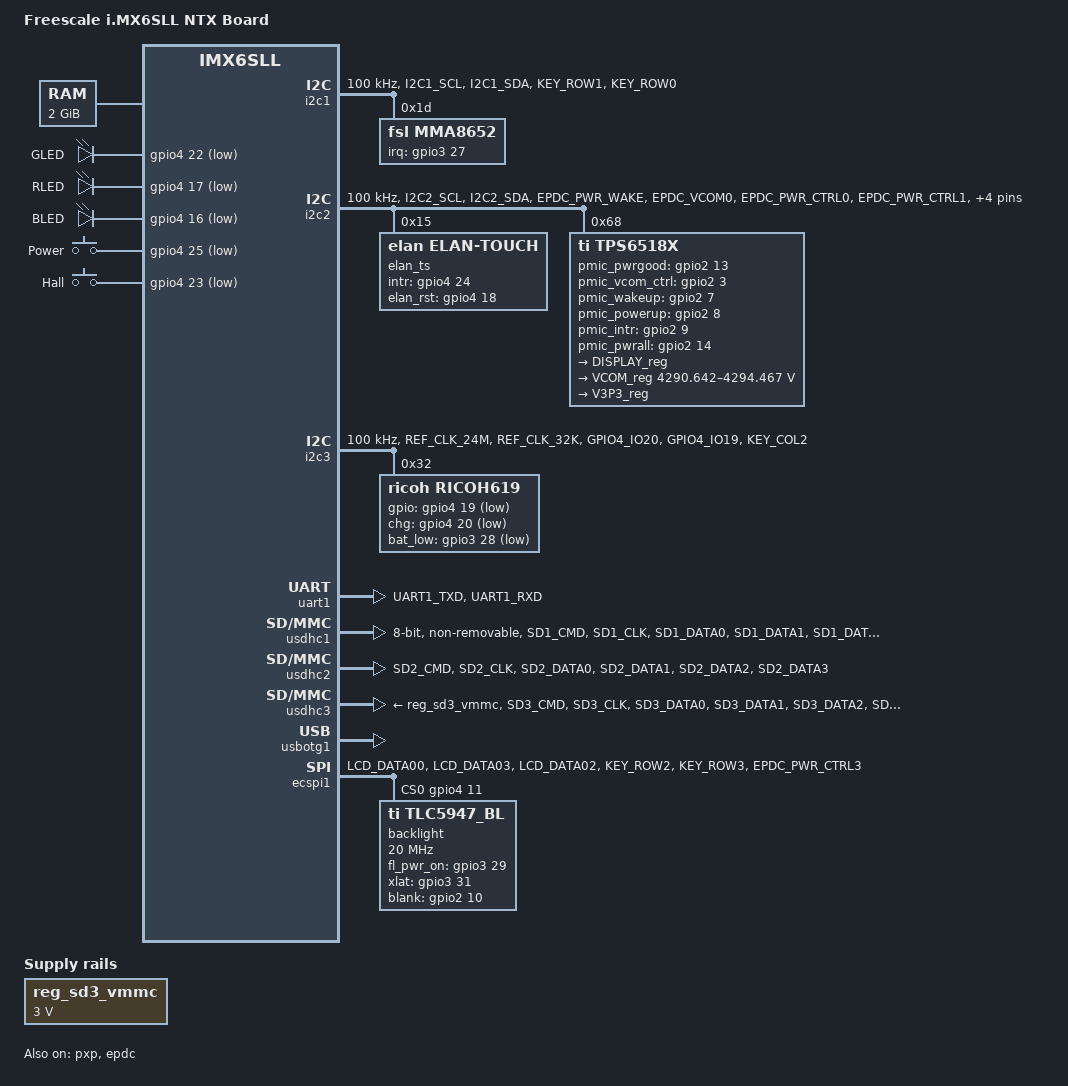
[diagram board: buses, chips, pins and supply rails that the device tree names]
/*
 * Copyright (C) 2016 Freescale Semiconductor, Inc.
 *
 * This program is free software; you can redistribute it and/or modify
 * it under the terms of the GNU General Public License version 2 as
 * published by the Free Software Foundation.
 */

/dts-v1/;

#include <dt-bindings/gpio/gpio.h>
#include <dt-bindings/input/input.h>
#include "imx6sll-ntx_emmc.dtsi"

/ {
	model = "Freescale i.MX6SLL NTX Board";
	compatible = "fsl,imx6sll-lpddr3-arm2", "fsl,imx6sll";

	memory {
		reg = <0x80000000 0x80000000>;
	};

	pxp_v4l2_out {
		compatible = "fsl,imx6sl-pxp-v4l2";
		status = "okay";
	};

	regulators {
		compatible = "simple-bus";
		#address-cells = <1>;
		#size-cells = <0>;

		reg_sd3_vmmc: wifi_regulator {
			compatible = "regulator-fixed";
			regulator-name = "SD3_SPWR";
			regulator-min-microvolt = <3000000>;
			regulator-max-microvolt = <3000000>;
			wifipwr-gpio = <&gpio4 29 GPIO_ACTIVE_LOW>;
			wifirst-gpio = <&gpio5 0 GPIO_ACTIVE_HIGH>;
			wifiint-gpio = <&gpio4 31 GPIO_ACTIVE_HIGH>;
			gpio-open-drain;
		};
	};

	leds {
		compatible = "gpio-leds";
		pinctrl-names = "default";
		pinctrl-0 = <&pinctrl_led>;

		user {
			label = "GLED";
			gpios = <&gpio4 22 GPIO_ACTIVE_LOW>;
			linux,default-trigger = "timer";
		};

		red {
			label = "RLED";
			gpios = <&gpio4 17 GPIO_ACTIVE_LOW>;
			linux,default-trigger = "mc13892_bat-charging";
		};

		blue {
			label = "BLED";
			gpios = <&gpio4 16 GPIO_ACTIVE_LOW>;
			default-state = "off";
		};
	};

	gpio-keys {
		compatible = "gpio-keys";
		pinctrl-names = "default";
		pinctrl-0 = <&pinctrl_gpio_keys>;
		power {
			label = "Power";
			gpios = <&gpio4 25 GPIO_ACTIVE_LOW>;
			linux,code = <KEY_POWER>;
			gpio-key,wakeup;
		};
		hall {
			label = "Hall";
			gpios = <&gpio4 23 GPIO_ACTIVE_LOW>;
			linux,code = <KEY_H>;
			gpio-key,wakeup;
		};
	};

	usb_plug {
		compatible = "usb_plug";
	};
	ntx_bl {
		compatible = "ntx_bl";
	};
	ntx_led {
		compatible = "ntx_led";
	};
	ntx_event0 {
		compatible = "ntx_event0";
	};
};

&audmux {
	pinctrl-names = "default";
	status = "disabled";
};

&clks {
	assigned-clocks = <&clks IMX6SLL_CLK_PLL4_AUDIO_DIV>;
	assigned-clock-rates = <393216000>;
};

&cpu0 {
/*	arm-supply = <&sw1a_reg>;*/
/*	soc-supply = <&sw1c_reg>;*/
	arm-supply = <&ricoh619_dcdc3_reg>;
	soc-supply = <&ricoh619_dcdc1_reg>;
};

&csi {
	status = "disabled";
};

&i2c1 {
	clock-frequency = <100000>;
	pinctrl-names = "default","sleep";
	pinctrl-0 = <&pinctrl_i2c1 &pinctrl_gs_gpio>;
	pinctrl-1 = <&pinctrl_i2c1_sleep &pinctrl_gs_gpio_sleep>;
	status = "okay";

	mma8652@1d {
		compatible = "fsl,mma8652";
		reg = <0x1d>;
		interrupt-parent = <&gpio3>;
		interrupts = <27 0>;
	};
};

&i2c2 {
	clock-frequency = <100000>;
	pinctrl-names = "default","sleep";
	pinctrl-0 = <&pinctrl_i2c2 &pinctrl_tps65185_gpio &pinctrl_elan_ts_gpio>;
	pinctrl-1 = <&pinctrl_i2c2_sleep  &pinctrl_tps65185_gpio_sleep &pinctrl_elan_ts_gpio_sleep>;
	status = "okay";

	elan_ts@15 {
		compatible = "elan,elan-touch";
		reg = <0x15>;

		gpio_intr = <&gpio4 24 0>;
		gpio_elan_rst = <&gpio4 18 0>;
	};

	tps6518x@68 {
		compatible = "ti,tps6518x";
		reg = <0x68>;
		/*
		 * power sequencing for TPS65180/65181
		 */
		pwr_seq0 = <0xe1>; /* [Vddh-seq=3 | Vpos-seq=2 | Vee-seq=0 | Vneg-seq=1] */
		pwr_seq1 = <0x30>; /* [Vneg-dly1=3 |Vee-dly0=0]  mSec */
		pwr_seq2 = <0x33>; /* [Vddh-dly3=3 | Vpos-dly2=3] mSec */
		/*
		 * power sequencing for TPS65185/65186
		 */
		upseq0 = <0xe4>;
		upseq1 = <0x55>;
		dwnseq0 = <0x1e>;
		dwnseq1 = <0xe0>;

		gpio_pmic_pwrgood = <&gpio2 13 0>;
		gpio_pmic_vcom_ctrl = <&gpio2 3 GPIO_ACTIVE_HIGH>;
		gpio_pmic_wakeup = <&gpio2 7 0>;
		gpio_pmic_powerup = <&gpio2 8 GPIO_ACTIVE_HIGH>;
		gpio_pmic_intr = <&gpio2 9 0>;

		/* gpio_pmic_v3p3 = <&gpio2 14 GPIO_ACTIVE_HIGH>; */
		gpio_pmic_pwrall = <&gpio2 14 GPIO_ACTIVE_HIGH>;

		regulators {
			DISPLAY_reg: DISPLAY {
				regulator-name = "DISPLAY";
			};

			VCOM_reg: VCOM {
				regulator-name = "VCOM";
				/* 2's-compliment, -4325000 */
				regulator-min-microvolt = <0xffbe0178>;
				/* 2's-compliment, -500000 */
				regulator-max-microvolt = <0xfff85ee0>;
			};

			V3P3_reg: V3P3 {
				regulator-name = "V3P3";
			};
		};
	};
};

&i2c3 {
	clock-frequency = <100000>;
	pinctrl-names = "default";
	pinctrl-0 = <&pinctrl_i2c3 &pinctrl_ricoh_gpio>;
	status = "okay";

	ricoh619: ricoh619-i2c@32 {
		reg = <0x32>;
		compatible = "ricoh,ricoh619";
		gpios = <&gpio4 19 GPIO_ACTIVE_LOW>;
		gpio_chg = <&gpio4 20 GPIO_ACTIVE_LOW>;
		gpio_bat_low = <&gpio3 28 GPIO_ACTIVE_LOW>;
	};

};

#include "ricoh619_mx6sll.dtsi"

&gpc {
	fsl,ldo-bypass = <1>;
};

&iomuxc {
	pinctrl-names = "default";
	pinctrl-0 = <&pinctrl_hog>;

	imx6sll-lpddr3-arm2 {
		pinctrl_hog: hoggrp {
			fsl,pins = <
				MX6SLL_PAD_LCD_DATA01__GPIO2_IO21	0x79
				MX6SLL_PAD_LCD_DATA04__GPIO2_IO24	0x79
				MX6SLL_PAD_LCD_DATA05__GPIO2_IO25	0x79
				MX6SLL_PAD_LCD_DATA06__GPIO2_IO26	0x79
				MX6SLL_PAD_LCD_DATA07__GPIO2_IO27	0x79
				MX6SLL_PAD_LCD_DATA08__GPIO2_IO28	0x79
				MX6SLL_PAD_LCD_DATA09__GPIO2_IO29	0x79
				MX6SLL_PAD_LCD_DATA10__GPIO2_IO30	0x79
				MX6SLL_PAD_LCD_DATA11__GPIO2_IO31	0x79
				MX6SLL_PAD_LCD_DATA12__GPIO3_IO00	0x79
				MX6SLL_PAD_LCD_DATA13__GPIO3_IO01	0x79
				MX6SLL_PAD_LCD_DATA14__GPIO3_IO02	0x79
				MX6SLL_PAD_LCD_DATA15__GPIO3_IO03	0x79
				MX6SLL_PAD_LCD_DATA16__GPIO3_IO04	0x79
				MX6SLL_PAD_LCD_DATA17__GPIO3_IO05	0x79
				MX6SLL_PAD_LCD_DATA18__GPIO3_IO06	0x79
				MX6SLL_PAD_LCD_DATA19__GPIO3_IO07	0x79
				MX6SLL_PAD_LCD_DATA20__GPIO3_IO08	0x79
				MX6SLL_PAD_LCD_DATA21__GPIO3_IO09	0x79
				MX6SLL_PAD_LCD_DATA22__GPIO3_IO10	0x79
				MX6SLL_PAD_LCD_DATA23__GPIO3_IO11	0x79
				MX6SLL_PAD_LCD_CLK__GPIO2_IO15		0x79
				MX6SLL_PAD_LCD_ENABLE__GPIO2_IO16	0x79
				MX6SLL_PAD_LCD_HSYNC__GPIO2_IO17	0x79
				MX6SLL_PAD_LCD_VSYNC__GPIO2_IO18	0x79
				MX6SLL_PAD_LCD_RESET__GPIO2_IO19 	0x79
				
				MX6SLL_PAD_GPIO4_IO21__GPIO4_IO21	0x79
				MX6SLL_PAD_GPIO4_IO26__GPIO4_IO26	0x79
				
				MX6SLL_PAD_KEY_COL3__GPIO3_IO30		0x79
				MX6SLL_PAD_KEY_ROW7__GPIO4_IO07		0x79
				MX6SLL_PAD_ECSPI2_MOSI__GPIO4_IO13	0x79	
				MX6SLL_PAD_KEY_COL5__GPIO4_IO02		0x79
				MX6SLL_PAD_KEY_ROW6__GPIO4_IO05		0x79			
			>;
		};

		pinctrl_usdhc3_pwr: usdhc3_pwr_grp {
			fsl,pins = <
				MX6SLL_PAD_SD2_DATA7__GPIO5_IO00 	0x10059		// WIFI_RST
				MX6SLL_PAD_SD2_DATA5__GPIO4_IO31	0x10059		// WIFI_INT
				MX6SLL_PAD_SD2_DATA6__GPIO4_IO29	0x10059		// WIFI_3V3_ON
			>;
		};

		pinctrl_audmux3: audmux3grp {
			fsl,pins = <
				MX6SLL_PAD_AUD_TXC__AUD3_TXC		0x4130b0
				MX6SLL_PAD_AUD_TXFS__AUD3_TXFS		0x4130b0
				MX6SLL_PAD_AUD_TXD__AUD3_TXD		0x4110b0
				MX6SLL_PAD_AUD_RXD__AUD3_RXD		0x4130b0
				MX6SLL_PAD_AUD_MCLK__AUDIO_CLK_OUT	0x4130b0
			>;
		};

		pinctrl_csi1: csi1grp {
			fsl,pins = <
				MX6SLL_PAD_EPDC_GDRL__CSI_MCLK		0x1b088
				MX6SLL_PAD_EPDC_GDCLK__CSI_PIXCLK	0x1b088
				MX6SLL_PAD_EPDC_GDSP__CSI_VSYNC		0x1b088
				MX6SLL_PAD_EPDC_GDOE__CSI_HSYNC		0x1b088
				MX6SLL_PAD_EPDC_DATA02__CSI_DATA02	0x1b088
				MX6SLL_PAD_EPDC_DATA03__CSI_DATA03	0x1b088
				MX6SLL_PAD_EPDC_DATA04__CSI_DATA04	0x1b088
				MX6SLL_PAD_EPDC_DATA05__CSI_DATA05	0x1b088
				MX6SLL_PAD_EPDC_DATA06__CSI_DATA06	0x1b088
				MX6SLL_PAD_EPDC_DATA07__CSI_DATA07	0x1b088
				MX6SLL_PAD_EPDC_SDCLK__CSI_DATA08	0x1b088
				MX6SLL_PAD_EPDC_SDLE__CSI_DATA09	0x1b088
				MX6SLL_PAD_EPDC_SDSHR__GPIO1_IO26	0x80000000
				MX6SLL_PAD_EPDC_SDOE__GPIO1_IO25	0x80000000
			>;
		};

		pinctrl_led: ledgrp {
			fsl,pins = <
				MX6SLL_PAD_GPIO4_IO22__GPIO4_IO22 	0x10059
				MX6SLL_PAD_GPIO4_IO16__GPIO4_IO16	0x10059
				MX6SLL_PAD_GPIO4_IO17__GPIO4_IO17	0x10059
			>;
		};

               pinctrl_epdc0: epdcgrp0 {
                        fsl,pins = <
				MX6SLL_PAD_EPDC_DATA00__EPDC_DATA00	0x100b1
				MX6SLL_PAD_EPDC_DATA01__EPDC_DATA01	0x100b1
				MX6SLL_PAD_EPDC_DATA02__EPDC_DATA02	0x100b1
				MX6SLL_PAD_EPDC_DATA03__EPDC_DATA03	0x100b1
				MX6SLL_PAD_EPDC_DATA04__EPDC_DATA04	0x100b1
				MX6SLL_PAD_EPDC_DATA05__EPDC_DATA05	0x100b1
				MX6SLL_PAD_EPDC_DATA06__EPDC_DATA06	0x100b1
				MX6SLL_PAD_EPDC_DATA07__EPDC_DATA07	0x100b1
				MX6SLL_PAD_EPDC_DATA08__EPDC_DATA08	0x100b1
				MX6SLL_PAD_EPDC_DATA09__EPDC_DATA09	0x100b1
				MX6SLL_PAD_EPDC_DATA10__EPDC_DATA10	0x100b1
				MX6SLL_PAD_EPDC_DATA11__EPDC_DATA11	0x100b1
				MX6SLL_PAD_EPDC_DATA12__EPDC_DATA12	0x100b1
				MX6SLL_PAD_EPDC_DATA13__EPDC_DATA13	0x100b1
				MX6SLL_PAD_EPDC_DATA14__EPDC_DATA14	0x100b1
				MX6SLL_PAD_EPDC_DATA15__EPDC_DATA15	0x100b1
				MX6SLL_PAD_EPDC_SDCLK__EPDC_SDCLK_P	0x100b1
				MX6SLL_PAD_EPDC_SDLE__EPDC_SDLE		0x100b1
				MX6SLL_PAD_EPDC_SDOE__EPDC_SDOE		0x100b1
				MX6SLL_PAD_EPDC_SDSHR__EPDC_SDSHR	0x100b1
				MX6SLL_PAD_EPDC_SDCE0__EPDC_SDCE0	0x100b1
				MX6SLL_PAD_EPDC_GDCLK__EPDC_GDCLK	0x100b1
				MX6SLL_PAD_EPDC_GDOE__EPDC_GDOE		0x100b1
				MX6SLL_PAD_EPDC_GDRL__EPDC_GDRL		0x100b1
				MX6SLL_PAD_EPDC_GDSP__EPDC_GDSP		0x100b1
                       >;
                };

		pinctrl_lcdif_dat: lcdifdatgrp {
			fsl,pins = <
				MX6SLL_PAD_LCD_DATA00__LCD_DATA00	0x79
				MX6SLL_PAD_LCD_DATA01__LCD_DATA01	0x79
				MX6SLL_PAD_LCD_DATA02__LCD_DATA02	0x79
				MX6SLL_PAD_LCD_DATA03__LCD_DATA03	0x79
				MX6SLL_PAD_LCD_DATA04__LCD_DATA04	0x79
				MX6SLL_PAD_LCD_DATA05__LCD_DATA05	0x79
				MX6SLL_PAD_LCD_DATA06__LCD_DATA06	0x79
				MX6SLL_PAD_LCD_DATA07__LCD_DATA07	0x79
				MX6SLL_PAD_LCD_DATA08__LCD_DATA08	0x79
				MX6SLL_PAD_LCD_DATA09__LCD_DATA09	0x79
				MX6SLL_PAD_LCD_DATA10__LCD_DATA10	0x79
				MX6SLL_PAD_LCD_DATA11__LCD_DATA11	0x79
				MX6SLL_PAD_LCD_DATA12__LCD_DATA12	0x79
				MX6SLL_PAD_LCD_DATA13__LCD_DATA13	0x79
				MX6SLL_PAD_LCD_DATA14__LCD_DATA14	0x79
				MX6SLL_PAD_LCD_DATA15__LCD_DATA15	0x79
				MX6SLL_PAD_LCD_DATA16__LCD_DATA16	0x79
				MX6SLL_PAD_LCD_DATA17__LCD_DATA17	0x79
				MX6SLL_PAD_LCD_DATA18__LCD_DATA18	0x79
				MX6SLL_PAD_LCD_DATA19__LCD_DATA19	0x79
				MX6SLL_PAD_LCD_DATA20__LCD_DATA20	0x79
				MX6SLL_PAD_LCD_DATA21__LCD_DATA21	0x79
				MX6SLL_PAD_LCD_DATA22__LCD_DATA22	0x79
				MX6SLL_PAD_LCD_DATA23__LCD_DATA23	0x79
			>;
		};

		pinctrl_lcdif_ctrl: lcdifctrlgrp {
			fsl,pins = <
				MX6SLL_PAD_LCD_CLK__LCD_CLK		0x79
				MX6SLL_PAD_LCD_ENABLE__LCD_ENABLE	0x79
				MX6SLL_PAD_LCD_HSYNC__LCD_HSYNC		0x79
				MX6SLL_PAD_LCD_VSYNC__LCD_VSYNC		0x79
				MX6SLL_PAD_LCD_RESET__LCD_RESET		0x79
				MX6SLL_PAD_ECSPI1_SCLK__GPIO4_IO08	0x79
			>;
		};

		pinctrl_max17135: max17135grp-1 {
			fsl,pins = <
				MX6SLL_PAD_EPDC_PWR_STAT__GPIO2_IO13	0x17059  /* pwrgood */
				MX6SLL_PAD_EPDC_VCOM0__GPIO2_IO03	0x80000000  /* vcom_ctrl */
				MX6SLL_PAD_EPDC_PWR_WAKE__GPIO2_IO14	0x80000000  /* wakeup */
				MX6SLL_PAD_EPDC_PWR_CTRL0__GPIO2_IO07	0x80000000  /* v3p3 */
				MX6SLL_PAD_EPDC_PWR_IRQ__GPIO2_IO12	0x17059  /* pwr int */
			>;
		};

		pinctrl_spdif: spdifgrp {
			fsl,pins = <
				MX6SLL_PAD_SD2_DATA4__SPDIF_OUT 0x4130b0
			>;
		};

		pinctrl_uart1: uart1grp {
			fsl,pins = <
				MX6SLL_PAD_UART1_TXD__UART1_DCE_TX 0x1b0b1
				MX6SLL_PAD_UART1_RXD__UART1_DCE_RX 0x1b0b1
			>;
		};

		pinctrl_usdhc1: usdhc1grp {
			fsl,pins = <
				MX6SLL_PAD_SD1_CMD__SD1_CMD	0x17059
				MX6SLL_PAD_SD1_CLK__SD1_CLK	0x17059
				MX6SLL_PAD_SD1_DATA0__SD1_DATA0	0x17059
				MX6SLL_PAD_SD1_DATA1__SD1_DATA1	0x17059
				MX6SLL_PAD_SD1_DATA2__SD1_DATA2	0x17059
				MX6SLL_PAD_SD1_DATA3__SD1_DATA3	0x17059
				MX6SLL_PAD_SD1_DATA4__SD1_DATA4	0x17059
				MX6SLL_PAD_SD1_DATA5__SD1_DATA5	0x17059
				MX6SLL_PAD_SD1_DATA6__SD1_DATA6	0x17059
				MX6SLL_PAD_SD1_DATA7__SD1_DATA7	0x17059
			>;
		};

		pinctrl_usdhc1_100mhz: usdhc1grp_100mhz {
			fsl,pins = <
				MX6SLL_PAD_SD1_CMD__SD1_CMD	0x170b9
				MX6SLL_PAD_SD1_CLK__SD1_CLK	0x170b9
				MX6SLL_PAD_SD1_DATA0__SD1_DATA0	0x170b9
				MX6SLL_PAD_SD1_DATA1__SD1_DATA1	0x170b9
				MX6SLL_PAD_SD1_DATA2__SD1_DATA2	0x170b9
				MX6SLL_PAD_SD1_DATA3__SD1_DATA3	0x170b9
				MX6SLL_PAD_SD1_DATA4__SD1_DATA4	0x170b9
				MX6SLL_PAD_SD1_DATA5__SD1_DATA5	0x170b9
				MX6SLL_PAD_SD1_DATA6__SD1_DATA6	0x170b9
				MX6SLL_PAD_SD1_DATA7__SD1_DATA7	0x170b9
			>;
		};

		pinctrl_usdhc1_200mhz: usdhc1grp_200mhz {
			fsl,pins = <
				MX6SLL_PAD_SD1_CMD__SD1_CMD	0x170f9
				MX6SLL_PAD_SD1_CLK__SD1_CLK	0x170f9
				MX6SLL_PAD_SD1_DATA0__SD1_DATA0	0x170f9
				MX6SLL_PAD_SD1_DATA1__SD1_DATA1	0x170f9
				MX6SLL_PAD_SD1_DATA2__SD1_DATA2	0x170f9
				MX6SLL_PAD_SD1_DATA3__SD1_DATA3	0x170f9
				MX6SLL_PAD_SD1_DATA4__SD1_DATA4	0x170b9
				MX6SLL_PAD_SD1_DATA5__SD1_DATA5	0x170b9
				MX6SLL_PAD_SD1_DATA6__SD1_DATA6	0x170b9
				MX6SLL_PAD_SD1_DATA7__SD1_DATA7	0x170b9
			>;
		};

		pinctrl_usdhc1_sleep: usdhc1grp_sleep {
			fsl,pins = <
				MX6SLL_PAD_SD1_CMD__SD1_CMD	0x10059
				MX6SLL_PAD_SD1_CLK__SD1_CLK	0x10059
				MX6SLL_PAD_SD1_DATA0__SD1_DATA0	0x10059
				MX6SLL_PAD_SD1_DATA1__SD1_DATA1	0x10059
				MX6SLL_PAD_SD1_DATA2__SD1_DATA2	0x10059
				MX6SLL_PAD_SD1_DATA3__SD1_DATA3	0x10059
				MX6SLL_PAD_SD1_DATA4__SD1_DATA4	0x10059
				MX6SLL_PAD_SD1_DATA5__SD1_DATA5	0x10059
				MX6SLL_PAD_SD1_DATA6__SD1_DATA6	0x10059
				MX6SLL_PAD_SD1_DATA7__SD1_DATA7	0x10059
			>;
		};

		pinctrl_usdhc2: usdhc2grp {
			fsl,pins = <
				MX6SLL_PAD_SD2_CMD__SD2_CMD		0x1f079
				MX6SLL_PAD_SD2_CLK__SD2_CLK		0x13079
				MX6SLL_PAD_SD2_DATA0__SD2_DATA0 	0x1f079
				MX6SLL_PAD_SD2_DATA1__SD2_DATA1		0x1f079
				MX6SLL_PAD_SD2_DATA2__SD2_DATA2		0x1f079
				MX6SLL_PAD_SD2_DATA3__SD2_DATA3		0x1f079
			>;
		};

		pinctrl_usdhc2_100mhz: usdhc2grp_100mhz {
			fsl,pins = <
				MX6SLL_PAD_SD2_CMD__SD2_CMD		0x170b9
				MX6SLL_PAD_SD2_CLK__SD2_CLK		0x130b9
				MX6SLL_PAD_SD2_DATA0__SD2_DATA0 	0x170b9
				MX6SLL_PAD_SD2_DATA1__SD2_DATA1		0x170b9
				MX6SLL_PAD_SD2_DATA2__SD2_DATA2		0x170b9
				MX6SLL_PAD_SD2_DATA3__SD2_DATA3		0x170b9
			>;
		};

		pinctrl_usdhc2_200mhz: usdhc2grp_200mhz {
			fsl,pins = <
				MX6SLL_PAD_SD2_CMD__SD2_CMD		0x170f9
				MX6SLL_PAD_SD2_CLK__SD2_CLK		0x130f9
				MX6SLL_PAD_SD2_DATA0__SD2_DATA0 	0x170f9
				MX6SLL_PAD_SD2_DATA1__SD2_DATA1		0x170f9
				MX6SLL_PAD_SD2_DATA2__SD2_DATA2		0x170f9
				MX6SLL_PAD_SD2_DATA3__SD2_DATA3		0x170f9
			>;
		};

		pinctrl_usdhc2_sleep: usdhc2grp_sleep {
			fsl,pins = <
				MX6SLL_PAD_SD2_CMD__SD2_CMD		0x100f9
				MX6SLL_PAD_SD2_CLK__SD2_CLK		0x100f9
				MX6SLL_PAD_SD2_DATA0__SD2_DATA0 	0x100f9
				MX6SLL_PAD_SD2_DATA1__SD2_DATA1		0x100f9
				MX6SLL_PAD_SD2_DATA2__SD2_DATA2		0x100f9
				MX6SLL_PAD_SD2_DATA3__SD2_DATA3		0x100f9
			>;
		};

		pinctrl_usdhc3: usdhc3grp {
			fsl,pins = <
				MX6SLL_PAD_SD3_CMD__SD3_CMD	0x17059
				MX6SLL_PAD_SD3_CLK__SD3_CLK	0x17059
				MX6SLL_PAD_SD3_DATA0__SD3_DATA0	0x17059
				MX6SLL_PAD_SD3_DATA1__SD3_DATA1	0x17059
				MX6SLL_PAD_SD3_DATA2__SD3_DATA2	0x17059
				MX6SLL_PAD_SD3_DATA3__SD3_DATA3	0x17059
			>;
		};

		pinctrl_usdhc3_100mhz: usdhc3grp_100mhz {
			fsl,pins = <
				MX6SLL_PAD_SD3_CMD__SD3_CMD	0x170b9
				MX6SLL_PAD_SD3_CLK__SD3_CLK	0x170b9
				MX6SLL_PAD_SD3_DATA0__SD3_DATA0	0x170b9
				MX6SLL_PAD_SD3_DATA1__SD3_DATA1	0x170b9
				MX6SLL_PAD_SD3_DATA2__SD3_DATA2	0x170b9
				MX6SLL_PAD_SD3_DATA3__SD3_DATA3	0x170b9
			>;
		};

		pinctrl_usdhc3_200mhz: usdhc3grp_200mhz {
			fsl,pins = <
				MX6SLL_PAD_SD3_CMD__SD3_CMD	0x170f9
				MX6SLL_PAD_SD3_CLK__SD3_CLK	0x170f9
				MX6SLL_PAD_SD3_DATA0__SD3_DATA0	0x170f9
				MX6SLL_PAD_SD3_DATA1__SD3_DATA1	0x170f9
				MX6SLL_PAD_SD3_DATA2__SD3_DATA2	0x170f9
				MX6SLL_PAD_SD3_DATA3__SD3_DATA3	0x170f9
			>;
		};

		pinctrl_usdhc3_sleep: usdhc3grp_sleep {
			fsl,pins = <
				MX6SLL_PAD_SD3_CMD__SD3_CMD	0x130f9
				MX6SLL_PAD_SD3_CLK__SD3_CLK	0x130f9
				MX6SLL_PAD_SD3_DATA0__SD3_DATA0	0x130f9
				MX6SLL_PAD_SD3_DATA1__SD3_DATA1	0x130f9
				MX6SLL_PAD_SD3_DATA2__SD3_DATA2	0x130f9
				MX6SLL_PAD_SD3_DATA3__SD3_DATA3	0x130f9
			>;
		};

		pinctrl_usbotg1: usbotg1grp {
			fsl,pins = <
				MX6SLL_PAD_EPDC_PWR_COM__USB_OTG1_ID 0x17059
			>;
		};

		pinctrl_i2c1: i2c1grp {
			fsl,pins = <
				MX6SLL_PAD_I2C1_SCL__I2C1_SCL	 0x4001f8b1
				MX6SLL_PAD_I2C1_SDA__I2C1_SDA	 0x4001f8b1
			>;
		};

		pinctrl_i2c1_sleep: i2c1grp_sleep {
			fsl,pins = <
				MX6SLL_PAD_I2C1_SCL__I2C1_SCL	 0x400108b1
				MX6SLL_PAD_I2C1_SDA__I2C1_SDA	 0x400108b1
			>;
		};

		pinctrl_i2c2: i2c2grp {
			fsl,pins = <
				MX6SLL_PAD_I2C2_SCL__I2C2_SCL	 0x4001f8b1
				MX6SLL_PAD_I2C2_SDA__I2C2_SDA	 0x4001f8b1
			>;
		};

		pinctrl_i2c2_sleep: i2c2grp_sleep {
			fsl,pins = <
				MX6SLL_PAD_I2C2_SCL__I2C2_SCL	 0x400108b1
				MX6SLL_PAD_I2C2_SDA__I2C2_SDA	 0x400108b1
			>;
		};

		pinctrl_i2c3: i2c3grp {
			fsl,pins = <
				MX6SLL_PAD_REF_CLK_24M__I2C3_SCL  0x4001f8b1
				MX6SLL_PAD_REF_CLK_32K__I2C3_SDA  0x4001f8b1
			>;
		};

		pinctrl_pwm1: pmw1grp {
			fsl,pins = <
				MX6SLL_PAD_PWM1__PWM1_OUT   0x110b0
			>;
		};

		pinctrl_ecspi1: ecspi1grp {
			fsl,pins = <
				MX6SLL_PAD_LCD_DATA00__ECSPI1_MOSI	 0x100b1
				MX6SLL_PAD_LCD_DATA03__ECSPI1_SCLK	 0x100b1
				MX6SLL_PAD_LCD_DATA02__ECSPI1_SS0	 0x100b1
			>;
		};

		pinctrl_ecspi1_sleep: ecspi1grp_sleep {
			fsl,pins = <
				MX6SLL_PAD_LCD_DATA00__GPIO2_IO20	0x79
				MX6SLL_PAD_LCD_DATA03__GPIO2_IO23	0x79
			>;
		};


		pinctrl_ricoh_gpio: ricoh_gpio_grp {
			fsl,pins = <
				MX6SLL_PAD_GPIO4_IO20__GPIO4_IO20			0x1b8b1 /* ricoh619 chg */
				MX6SLL_PAD_GPIO4_IO19__GPIO4_IO19        	0x1b8b1 /* ricoh619 irq */
				MX6SLL_PAD_KEY_COL2__GPIO3_IO28				0x1b8b1 /* ricoh619 bat_low_int */
			>;
		};

		pinctrl_tps65185_gpio: tps65185_gpio_grp {
			fsl,pins = <
				MX6SLL_PAD_EPDC_PWR_WAKE__GPIO2_IO14_SION		0x10059 /* EP_PWRALL */
				MX6SLL_PAD_EPDC_VCOM0__GPIO2_IO03_SION			0x10059 /* VCOM_CTRL0 */
				MX6SLL_PAD_EPDC_PWR_CTRL0__GPIO2_IO07_SION		0x10059 /* EP_PWRCTRL0 WAKEUP */
				MX6SLL_PAD_EPDC_PWR_CTRL1__GPIO2_IO08_SION		0x10059 /* EP_PWRCTRL1 PWRUP */
				MX6SLL_PAD_EPDC_PWR_CTRL2__GPIO2_IO09		0x17059 /* EP_PWRCTRL2 EP_INT */
				MX6SLL_PAD_EPDC_PWR_STAT__GPIO2_IO13		0x17059 /* EP_PWRSTAT */
			>;
		};

		pinctrl_tps65185_gpio_sleep: tps65185_gpio_sleep_grp {
			fsl,pins = <
				MX6SLL_PAD_EPDC_PWR_WAKE__GPIO2_IO14		0x10059 /* EP_PWRALL */
				MX6SLL_PAD_EPDC_VCOM0__GPIO2_IO03			0x10059 /* VCOM_CTRL0 */
				MX6SLL_PAD_EPDC_PWR_CTRL0__GPIO2_IO07		0x10059 /* EP_PWRCTRL0 WAKEUP */
				MX6SLL_PAD_EPDC_PWR_CTRL1__GPIO2_IO08		0x10059 /* EP_PWRCTRL1 PWRUP */
				MX6SLL_PAD_EPDC_PWR_CTRL2__GPIO2_IO09		0x13059 /* EP_PWRCTRL2 EP_INT */
				MX6SLL_PAD_EPDC_PWR_STAT__GPIO2_IO13		0x13059 /* EP_PWRSTAT */
			>;
		};

		pinctrl_elan_ts_gpio: elan_ts_gpio_grp {
			fsl,pins = <
				MX6SLL_PAD_GPIO4_IO24__GPIO4_IO24		0x17059 /* TP_INT */
				MX6SLL_PAD_GPIO4_IO18__GPIO4_IO18		0x10059 /* TP_RST */
			>;
		};

		pinctrl_elan_ts_gpio_sleep: elan_ts_gpio_grp_sleep {
			fsl,pins = <
				MX6SLL_PAD_GPIO4_IO24__GPIO4_IO24		0x10059 /* TP_INT */
				MX6SLL_PAD_GPIO4_IO18__GPIO4_IO18		0x10059 /* TP_RST */
			>;
		};

		pinctrl_gs_gpio: gs_gpio_grp {
			fsl,pins = <
				MX6SLL_PAD_KEY_ROW1__GPIO3_IO27		0x1b059 /* GS_INT1 */
				MX6SLL_PAD_KEY_ROW0__GPIO3_IO25		0x1b059 /* GS_INT2 */
			>;
		};

		pinctrl_gs_gpio_sleep: gs_gpio_grp_sleep {
			fsl,pins = <
				MX6SLL_PAD_KEY_ROW1__GPIO3_IO27		0x10059 /* GS_INT1 */
				MX6SLL_PAD_KEY_ROW0__GPIO3_IO25		0x10059 /* GS_INT2 */
			>;
		};

		pinctrl_lm3630a_bl_gpio: lm3630a_bl_gpio_grp {
			fsl,pins = <
				MX6SLL_PAD_KEY_ROW2__GPIO3_IO29		0x10059 /* FL_EN */
			>;
		};

		pinctrl_tlc5947_bl_gpio: tlc5947_bl_gpio_grp {
			fsl,pins = <
				MX6SLL_PAD_KEY_ROW2__GPIO3_IO29		0x10059 /* FL_PWR_ON */
				MX6SLL_PAD_KEY_ROW3__GPIO3_IO31		0x10059 /* FL_XLAT */
				MX6SLL_PAD_EPDC_PWR_CTRL3__GPIO2_IO10		0x10059 /* FL_BLANK */
			>;
		};

		pinctrl_gpio_keys: gpio_keys_grp {
			fsl,pins = <
				MX6SLL_PAD_GPIO4_IO25__GPIO4_IO25	0x17059	/* PWR_SW */
				MX6SLL_PAD_GPIO4_IO23__GPIO4_IO23	0x17059	/* HALL_EN */
			>;
		};

	};
};

&lcdif {
	pinctrl-names = "default";
	pinctrl-0 = <&pinctrl_lcdif_dat
		     &pinctrl_lcdif_ctrl>;
	display = <&display>;
	status = "disabled";

	display: display {
		bits-per-pixel = <16>;
		bus-width = <24>;

		display-timings {
			native-mode = <&timing0>;
			timing0: timing0 {
				clock-frequency = <33500000>;
				hactive = <800>;
				vactive = <480>;
				hback-porch = <89>;
				hfront-porch = <164>;
				vback-porch = <23>;
				vfront-porch = <10>;
				hsync-len = <10>;
				vsync-len = <10>;
				hsync-active = <0>;
				vsync-active = <0>;
				de-active = <1>;
				pixelclk-active = <0>;
			};
		};
	};
};

&pxp {
	status = "okay";
};

&pwm1 {
	pinctrl-names = "default";
	status = "disabled";
};

&uart1 {
	pinctrl-names = "default";
	pinctrl-0 = <&pinctrl_uart1>;
	status = "okay";
};

&usdhc1 {
	pinctrl-names = "default", "state_100mhz", "state_200mhz","sleep";
	pinctrl-0 = <&pinctrl_usdhc1>;
	pinctrl-1 = <&pinctrl_usdhc1_100mhz>;
	pinctrl-2 = <&pinctrl_usdhc1_200mhz>;
	pinctrl-3 = <&pinctrl_usdhc1_sleep>;
	non-removable;
	no-1-8-v;
	bus-width = <8>; 
	status = "okay";
};

&usdhc2 {
	pinctrl-names = "default", "state_100mhz", "state_200mhz","sleep";
	pinctrl-0 = <&pinctrl_usdhc2>;
	pinctrl-1 = <&pinctrl_usdhc2_100mhz>;
	pinctrl-2 = <&pinctrl_usdhc2_200mhz>;
	pinctrl-3 = <&pinctrl_usdhc2_sleep>;
	no-1-8-v;
/*	bus-width = <8>; */
	status = "okay";
};

&usdhc3 {
	pinctrl-names = "default", "state_100mhz", "state_200mhz","sleep";
	pinctrl-0 = <&pinctrl_usdhc3>, <&pinctrl_usdhc3_pwr>;
	pinctrl-1 = <&pinctrl_usdhc3_100mhz>;
	pinctrl-2 = <&pinctrl_usdhc3_200mhz>;
	pinctrl-3 = <&pinctrl_usdhc3_sleep>, <&pinctrl_usdhc3_pwr>;
	vmmc-supply = <&reg_sd3_vmmc>;
	wifi-host;
	status = "okay";
};

&usbotg1 {
	pinctrl-names = "default";
	disable-over-current;
	srp-disable;
	hnp-disable;
	adp-disable;
	status = "okay";
};

&usbotg2 {
	dr_mode = "host";
	disable-over-current;
	status = "disabled";
};

&ecspi1 {
	fsl,spi-num-chipselects = <1>;
	cs-gpios = <&gpio4 11 0>;
	pinctrl-names = "default","sleep";
	pinctrl-0 = <&pinctrl_ecspi1 &pinctrl_tlc5947_bl_gpio>;
	pinctrl-1 = <&pinctrl_ecspi1_sleep>;
	status = "okay";

	#address-cells = <1>;
	#size-cells = <0>;

	backlight: tlc5947@0 {
		compatible = "ti,tlc5947_bl";
		spi-max-frequency = <20000000>;
		reg = <0>;

		gpio_fl_pwr_on = <&gpio3 29 0>;
		gpio_xlat = <&gpio3 31 0>;
		gpio_blank = <&gpio2 10 0>;

	};
};

&epdc {
	pinctrl-names = "default";
	pinctrl-0 = <&pinctrl_epdc0>;
	V3P3-supply = <&V3P3_reg>;	
	VCOM-supply = <&VCOM_reg>;	
	DISPLAY-supply = <&DISPLAY_reg>; 
	status = "okay";
};

&ssi2 {
	status = "disabled";
};
